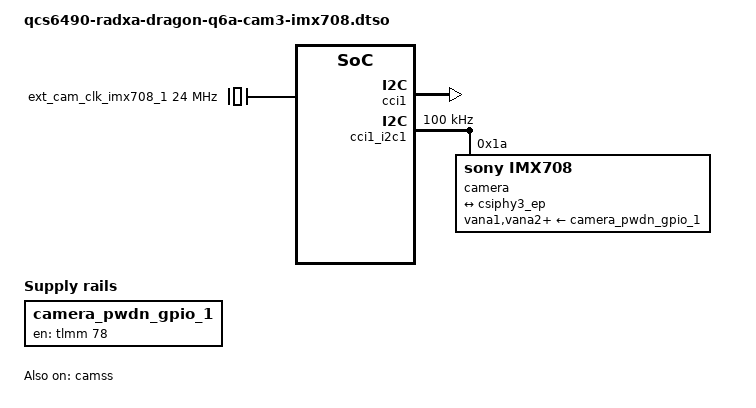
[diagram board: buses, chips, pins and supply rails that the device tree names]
// SPDX-License-Identifier: BSD-3-Clause
/*
 * Copyright (c) 2026 Radxa Computer (Shenzhen) Co., Ltd.
 */

/dts-v1/;
/plugin/;

#include <dt-bindings/clock/qcom,camcc-sc7280.h>
#include <dt-bindings/gpio/gpio.h>

/ {
	metadata {
		title = "Enable Raspberry Pi Camera Module 3 on CAM3";
		compatible = "radxa,dragon-q6a";
		category = "camera";
		exclusive = "cci1_i2c1", "gpio78";
		description = "Enable Raspberry Pi Camera Module 3 on CAM3.";
	};
};

&{/} {
	reserved-memory{
		linux,cma {
			compatible = "shared-dma-pool";
			size = <0x0 0x20000000>;
			reusable;
			linux,cma-default;
		};
	};

	ext_cam_clk_imx708_1: ext-cam-clk-imx708-1 {
		status = "okay";
		compatible = "fixed-clock";
		clock-frequency = <24000000>;
		clock-output-names = "ext_cam_clk_imx708_1";
		#clock-cells = <0>;
	};

	camera_pwdn_gpio_1: camera-pwdn-gpio-1 {
		status = "okay";
		compatible = "regulator-fixed";
		regulator-name = "camera_pwdn_gpio_1";
		regulator-always-on;
		enable-active-high;
		gpios = <&tlmm 78 GPIO_ACTIVE_HIGH>;
		pinctrl-names = "default";
		pinctrl-0 = <&cam_pwdn_gpio_1>;
	};
};

&camss {
	vdda-phy-supply = <&vreg_l10c_0p88>;
	vdda-pll-supply = <&vreg_l6b_1p2>;

	status = "okay";

	ports {
		#address-cells = <1>;
		#size-cells = <0>;

		/* The port index denotes CSIPHY id i.e. csiphy0 */
		port@3 {
			reg = <3>;

			csiphy3_ep: endpoint {
				clock-lanes = <7>;
				data-lanes = <0 1>;
				remote-endpoint = <&imx708_1_ep>;
				clock-noncontinuous;
			};
		};
	};
};

&cci1 {
	status = "okay";
};

&cci1_i2c1 {
	#address-cells = <1>;
	#size-cells = <0>;

	clock-frequency = <100000>;
	camera@1a {
		compatible = "sony,imx708";
		reg = <0x1a>;

		vana1-supply = <&camera_pwdn_gpio_1>;	/* 2.8v */
		vana2-supply = <&camera_pwdn_gpio_1>;	/* 1.8v */
		vdig-supply = <&camera_pwdn_gpio_1>;	/* 1.1v */
		vddl-supply = <&camera_pwdn_gpio_1>;	/* 1.8v */

		clocks = <&ext_cam_clk_imx708_1>;
		clock-names = "inclk";

		port {
			imx708_1_ep: endpoint {
				link-frequencies = /bits/ 64 <450000000>;
				data-lanes = <1 2>;
				remote-endpoint = <&csiphy3_ep>;
			};
		};
	};
};

&tlmm {
	cam_pwdn_gpio_1: cam-pwdn-gpio-1-state {
		pins = "gpio78";
		function = "gpio";
		drive-strength = <2>;
		bias-pull-up;
	};
};
